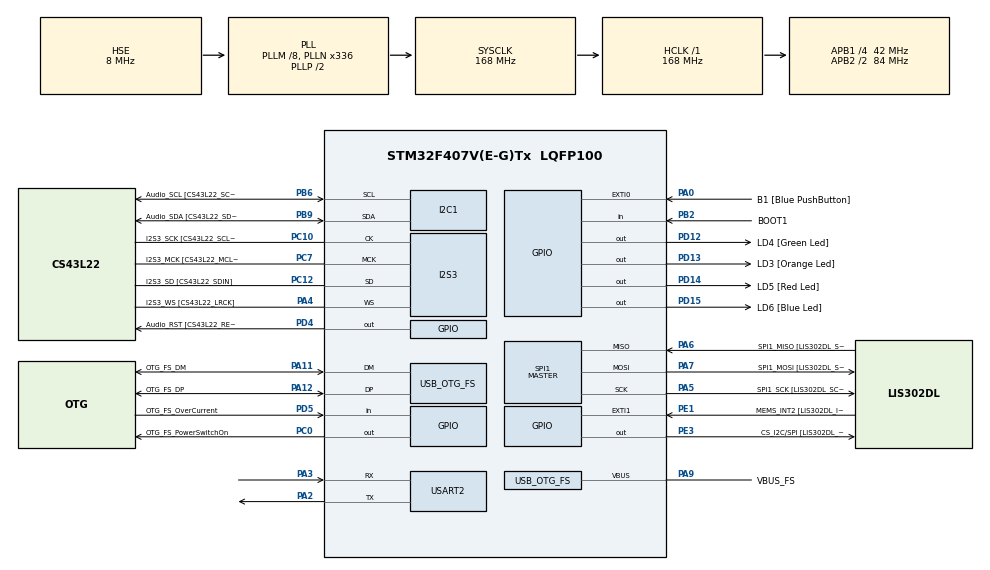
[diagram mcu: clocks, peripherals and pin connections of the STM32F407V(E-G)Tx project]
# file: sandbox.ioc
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I2S3.AudioFreq-Half_Duplex_Master=I2S_AUDIOFREQ_96K
I2S3.ErrorAudioFreq=-2.34 %
I2S3.ErrorAudioFreq-Half_Duplex_Master=0.8 %
I2S3.FullDuplexMode=I2S_FULLDUPLEXMODE_DISABLE
I2S3.Instance=SPI$Index
I2S3.RealAudioFreq=93.75 KHz
I2S3.RealAudioFreq-Half_Duplex_Master=96.774 KHz
I2S3.VirtualMode=I2S_MODE_MASTER
Mcu.Family=STM32F4
Mcu.Name=STM32F407V(E-G)Tx
Mcu.Package=LQFP100
NVIC.OTG_FS_IRQn=true\:0\:0\:false\:false\:true\:true
NVIC.PriorityGroup=NVIC_PRIORITYGROUP_0
PA0-WKUP.GPIO_Label=B1 [Blue PushButton]
PA0-WKUP.GPIO_ModeDefaultEXTI=GPIO_MODE_EVT_RISING
PA0-WKUP.GPIO_PuPd=GPIO_NOPULL
PA0-WKUP.Signal=GPXTI0
PA10.GPIO_Label=OTG_FS_ID
PA10.GPIO_Mode=GPIO_MODE_AF_PP
PA10.GPIO_PuPd=GPIO_NOPULL
PA10.GPIO_Speed=GPIO_SPEED_FREQ_LOW
PA10.Signal=USB_OTG_FS_ID
PA11.GPIO_Label=OTG_FS_DM
PA11.GPIO_Mode=GPIO_MODE_AF_PP
PA11.GPIO_PuPd=GPIO_NOPULL
PA11.GPIO_Speed=GPIO_SPEED_FREQ_LOW
PA11.Mode=Host_Only
PA11.Signal=USB_OTG_FS_DM
PA12.GPIO_Label=OTG_FS_DP
PA12.GPIO_Mode=GPIO_MODE_AF_PP
PA12.GPIO_PuPd=GPIO_NOPULL
PA12.GPIO_Speed=GPIO_SPEED_FREQ_LOW
PA12.Mode=Host_Only
PA12.Signal=USB_OTG_FS_DP
PA13.GPIO_Label=SWDIO
PA13.Mode=Serial_Wire
PA13.Signal=SYS_JTMS-SWDIO
PA14.GPIO_Label=SWCLK
PA14.Mode=Serial_Wire
PA14.Signal=SYS_JTCK-SWCLK
PA2.Mode=Asynchronous
PA2.Signal=USART2_TX
PA3.Mode=Asynchronous
PA3.Signal=USART2_RX
PA4.GPIO_Label=I2S3_WS [CS43L22_LRCK]
PA4.GPIO_Mode=GPIO_MODE_AF_PP
PA4.GPIO_PuPd=GPIO_NOPULL
PA4.GPIO_Speed=GPIO_SPEED_FREQ_LOW
PA4.Mode=Half_Duplex_Master
PA4.Signal=I2S3_WS
PA5.GPIO_Label=SPI1_SCK [LIS302DL_SCL/SPC]
PA5.GPIO_Mode=GPIO_MODE_AF_PP
PA5.GPIO_PuPd=GPIO_NOPULL
PA5.GPIO_Speed=GPIO_SPEED_FREQ_LOW
PA5.Mode=Full_Duplex_Master
PA5.Signal=SPI1_SCK
PA6.GPIO_Label=SPI1_MISO [LIS302DL_SDO]
PA6.GPIO_Mode=GPIO_MODE_AF_PP
PA6.GPIO_PuPd=GPIO_NOPULL
PA6.GPIO_Speed=GPIO_SPEED_FREQ_LOW
PA6.Mode=Full_Duplex_Master
PA6.Signal=SPI1_MISO
PA7.GPIO_Label=SPI1_MOSI [LIS302DL_SDA/SDI/SDO]
PA7.GPIO_Mode=GPIO_MODE_AF_PP
PA7.GPIO_PuPd=GPIO_NOPULL
PA7.GPIO_Speed=GPIO_SPEED_FREQ_LOW
PA7.Mode=Full_Duplex_Master
PA7.Signal=SPI1_MOSI
PA9.GPIO_Label=VBUS_FS
PA9.GPIO_Mode=GPIO_MODE_INPUT
PA9.GPIO_PuPd=GPIO_NOPULL
PA9.Mode=Activate_VBUS
PA9.Signal=USB_OTG_FS_VBUS
PB10.GPIO_Label=CLK_IN [MP45DT02_CLK]
PB10.GPIO_Mode=GPIO_MODE_AF_PP
PB10.GPIO_PuPd=GPIO_NOPULL
PB10.GPIO_Speed=GPIO_SPEED_FREQ_LOW
PB10.Signal=I2S2_CK
PB2.GPIO_Label=BOOT1
PB2.GPIO_Mode=GPIO_MODE_INPUT
PB2.GPIO_PuPd=GPIO_NOPULL
PB2.Signal=GPIO_Input
PB3.GPIO_Label=SWO
PB3.Signal=SYS_JTDO-SWO
PB6.GPIO_Label=Audio_SCL [CS43L22_SCL]
PB6.GPIO_Mode=GPIO_MODE_AF_OD
PB6.GPIO_PuPd=GPIO_NOPULL
PB6.GPIO_Speed=GPIO_SPEED_FREQ_LOW
PB6.Mode=I2C
PB6.Signal=I2C1_SCL
PB9.GPIO_Label=Audio_SDA [CS43L22_SDA]
PB9.GPIO_Mode=GPIO_MODE_AF_OD
PB9.GPIO_PuPd=GPIO_NOPULL
PB9.GPIO_Speed=GPIO_SPEED_FREQ_LOW
PB9.Mode=I2C
PB9.Signal=I2C1_SDA
PC0.GPIO_Label=OTG_FS_PowerSwitchOn
PC0.GPIO_PuPd=GPIO_NOPULL
PC0.GPIO_Speed=GPIO_SPEED_FREQ_LOW
PC0.PinState=GPIO_PIN_SET
PC0.Signal=GPIO_Output
PC10.GPIO_Label=I2S3_SCK [CS43L22_SCLK]
PC10.GPIO_Mode=GPIO_MODE_AF_PP
PC10.GPIO_PuPd=GPIO_NOPULL
PC10.GPIO_Speed=GPIO_SPEED_FREQ_LOW
PC10.Mode=Half_Duplex_Master
PC10.Signal=I2S3_CK
PC12.GPIO_Label=I2S3_SD [CS43L22_SDIN]
PC12.GPIO_Mode=GPIO_MODE_AF_PP
PC12.GPIO_PuPd=GPIO_NOPULL
PC12.GPIO_Speed=GPIO_SPEED_FREQ_LOW
PC12.Mode=Half_Duplex_Master
PC12.Signal=I2S3_SD
PC14-OSC32_IN.GPIO_Label=PC14-OSC32_IN
PC14-OSC32_IN.Mode=LSE-External-Oscillator
PC14-OSC32_IN.Signal=RCC_OSC32_IN
PC15-OSC32_OUT.GPIO_Label=PC15-OSC32_OUT
PC15-OSC32_OUT.Mode=LSE-External-Oscillator
PC15-OSC32_OUT.Signal=RCC_OSC32_OUT
PC3.GPIO_Label=PDM_OUT [MP45DT02_DOUT]
PC3.GPIO_Mode=GPIO_MODE_AF_PP
PC3.GPIO_PuPd=GPIO_NOPULL
PC3.GPIO_Speed=GPIO_SPEED_FREQ_LOW
PC3.Signal=I2S2_SD
PC7.GPIO_Label=I2S3_MCK [CS43L22_MCLK]
PC7.GPIO_Mode=GPIO_MODE_AF_PP
PC7.GPIO_PuPd=GPIO_NOPULL
PC7.GPIO_Speed=GPIO_SPEED_FREQ_LOW
PC7.Mode=Master_Clock_Activated
PC7.Signal=I2S3_MCK
PD12.GPIO_Label=LD4 [Green Led]
PD12.GPIO_PuPd=GPIO_NOPULL
PD12.GPIO_Speed=GPIO_SPEED_FREQ_LOW
PD12.Signal=GPIO_Output
PD13.GPIO_Label=LD3 [Orange Led]
PD13.GPIO_PuPd=GPIO_NOPULL
PD13.GPIO_Speed=GPIO_SPEED_FREQ_LOW
PD13.Signal=GPIO_Output
PD14.GPIO_Label=LD5 [Red Led]
PD14.GPIO_PuPd=GPIO_NOPULL
PD14.GPIO_Speed=GPIO_SPEED_FREQ_LOW
PD14.Signal=GPIO_Output
PD15.GPIO_Label=LD6 [Blue Led]
PD15.GPIO_PuPd=GPIO_NOPULL
PD15.GPIO_Speed=GPIO_SPEED_FREQ_LOW
PD15.Signal=GPIO_Output
PD4.GPIO_Label=Audio_RST [CS43L22_RESET]
PD4.GPIO_PuPd=GPIO_NOPULL
PD4.GPIO_Speed=GPIO_SPEED_FREQ_LOW
PD4.Signal=GPIO_Output
PD5.GPIO_Label=OTG_FS_OverCurrent
PD5.GPIO_Mode=GPIO_MODE_INPUT
PD5.GPIO_PuPd=GPIO_NOPULL
PD5.Signal=GPIO_Input
PE1.GPIO_Label=MEMS_INT2 [LIS302DL_INT2]
PE1.GPIO_ModeDefaultEXTI=GPIO_MODE_EVT_RISING
PE1.GPIO_PuPd=GPIO_NOPULL
PE1.Signal=GPXTI1
PE3.GPIO_Label=CS_I2C/SPI [LIS302DL_CS_I2C/SPI]
PE3.GPIO_PuPd=GPIO_NOPULL
PE3.GPIO_Speed=GPIO_SPEED_FREQ_LOW
PE3.Signal=GPIO_Output
PH0-OSC_IN.GPIO_Label=PH0-OSC_IN
PH0-OSC_IN.Mode=HSE-External-Oscillator
PH0-OSC_IN.Signal=RCC_OSC_IN
PH1-OSC_OUT.GPIO_Label=PH1-OSC_OUT
PH1-OSC_OUT.Mode=HSE-External-Oscillator
PH1-OSC_OUT.Signal=RCC_OSC_OUT
ProjectManager.HeapSize=0x200
ProjectManager.StackSize=0x400
ProjectManager.TargetToolchain=SW4STM32
RCC.48MHZClocksFreq_Value=48000000
RCC.AHBFreq_Value=168000000
RCC.APB1CLKDivider=RCC_HCLK_DIV4
RCC.APB1Freq_Value=42000000
RCC.APB1TimFreq_Value=84000000
RCC.APB2CLKDivider=RCC_HCLK_DIV2
RCC.APB2Freq_Value=84000000
RCC.APB2TimFreq_Value=168000000
RCC.CortexFreq_Value=168000000
RCC.HCLKFreq_Value=168000000
RCC.HSE_VALUE=8000000
RCC.HSI_VALUE=16000000
RCC.PLLM=8
RCC.PLLN=336
RCC.PLLQ=7
RCC.SYSCLKFreq_VALUE=168000000
RCC.SYSCLKSource=RCC_SYSCLKSOURCE_PLLCLK
RCC.VCOOutputFreq_Value=336000000
SPI1.BaudRatePrescaler-Full_Duplex_Master=SPI_BAUDRATEPRESCALER_2
SPI1.CalculateBaudRate-Full_Duplex_Master=42.0 MBits/s
SPI1.Direction=SPI_DIRECTION_2LINES
SPI1.Mode=SPI_MODE_MASTER
SPI1.Mode-Full_Duplex_Master=SPI_MODE_MASTER
SPI1.VirtualType=VM_MASTER
USART2.VirtualMode=VM_ASYNC
USB_OTG_FS.VirtualMode=Host_Only
USB_OTG_FS.phy_itface=HCD_PHY_EMBEDDED
board=STM32F4DISCOVERY

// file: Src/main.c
/**
  ******************************************************************************
  * @file           : main.c
  * @brief          : Main program body
  ******************************************************************************
  ** This notice applies to any and all portions of this file
  * that are not between comment pairs USER CODE BEGIN and
  * USER CODE END. Other portions of this file, whether
  * inserted by the user or by software development tools
  * are owned by their respective copyright owners.
  *
  * COPYRIGHT(c) 2018 STMicroelectronics
  *
  * Redistribution and use in source and binary forms, with or without modification,
  * are permitted provided that the following conditions are met:
  *   1. Redistributions of source code must retain the above copyright notice,
  *      this list of conditions and the following disclaimer.
  *   2. Redistributions in binary form must reproduce the above copyright notice,
  *      this list of conditions and the following disclaimer in the documentation
  *      and/or other materials provided with the distribution.
  *   3. Neither the name of STMicroelectronics nor the names of its contributors
  *      may be used to endorse or promote products derived from this software
  *      without specific prior written permission.
  *
  * THIS SOFTWARE IS PROVIDED BY THE COPYRIGHT HOLDERS AND CONTRIBUTORS "AS IS"
  * AND ANY EXPRESS OR IMPLIED WARRANTIES, INCLUDING, BUT NOT LIMITED TO, THE
  * IMPLIED WARRANTIES OF MERCHANTABILITY AND FITNESS FOR A PARTICULAR PURPOSE ARE
  * DISCLAIMED. IN NO EVENT SHALL THE COPYRIGHT HOLDER OR CONTRIBUTORS BE LIABLE
  * FOR ANY DIRECT, INDIRECT, INCIDENTAL, SPECIAL, EXEMPLARY, OR CONSEQUENTIAL
  * DAMAGES (INCLUDING, BUT NOT LIMITED TO, PROCUREMENT OF SUBSTITUTE GOODS OR
  * SERVICES; LOSS OF USE, DATA, OR PROFITS; OR BUSINESS INTERRUPTION) HOWEVER
  * CAUSED AND ON ANY THEORY OF LIABILITY, WHETHER IN CONTRACT, STRICT LIABILITY,
  * OR TORT (INCLUDING NEGLIGENCE OR OTHERWISE) ARISING IN ANY WAY OUT OF THE USE
  * OF THIS SOFTWARE, EVEN IF ADVISED OF THE POSSIBILITY OF SUCH DAMAGE.
  *
  ******************************************************************************
  */
#include "main.h"
#include "stm32f4xx_hal.h"

I2C_HandleTypeDef hi2c1;

I2S_HandleTypeDef hi2s3;

SPI_HandleTypeDef hspi1;

UART_HandleTypeDef huart2;

HCD_HandleTypeDef hhcd_USB_OTG_FS;

/* USER CODE BEGIN PV */
/* Private variables ---------------------------------------------------------*/

/* USER CODE END PV */

void SystemClock_Config(void);

static void MX_GPIO_Init(void);

static void MX_I2C1_Init(void);

static void MX_I2S3_Init(void);

static void MX_SPI1_Init(void);

static void MX_USB_OTG_FS_HCD_Init(void);

static void MX_USART2_UART_Init(void);

/* USER CODE BEGIN PFP */
/* Private function prototypes -----------------------------------------------*/

/* USER CODE END PFP */

/* USER CODE BEGIN 0 */
static duk_ret_t native_sleep(duk_context *ctx) {
    duk_int32_t ms = duk_to_int32(ctx, 0);
    HAL_Delay((uint32_t) ms);
    return 0;
}

static duk_ret_t native_led_on(duk_context *ctx) {
    HAL_GPIO_WritePin(LD6_GPIO_Port, LD6_Pin, GPIO_PIN_SET);
    return 0;
}

static duk_ret_t native_led_off(duk_context *ctx) {
    HAL_GPIO_WritePin(LD6_GPIO_Port, LD6_Pin, GPIO_PIN_RESET);
    return 0;
}

/* USER CODE END 0 */

int main(void) {

    /* MCU Configuration----------------------------------------------------------*/

    /* Reset of all peripherals, Initializes the Flash interface and the Systick. */
    HAL_Init();

    /* Configure the system clock */
    SystemClock_Config();

    /* Initialize all configured peripherals */
    MX_GPIO_Init();
    MX_I2C1_Init();
    MX_I2S3_Init();
    MX_SPI1_Init();
    MX_USB_OTG_FS_HCD_Init();
    MX_USART2_UART_Init();
    /* USER CODE BEGIN 2 */

    duk_context *ctx = duk_create_heap_default();

    duk_push_c_function(ctx, native_sleep, 1 /*nargs*/);
    duk_put_global_string(ctx, "sleep");

    duk_push_c_function(ctx, native_led_on, 0);
    duk_put_global_string(ctx, "ledOn");

    duk_push_c_function(ctx, native_led_off, 0);
    duk_put_global_string(ctx, "ledOff");

    duk_eval_string(ctx, "(function(){"
            "var timeTest = 400 + 100;"
            "while(true){"
            "ledOn();"
            "sleep(timeTest);"
            "ledOff();"
            "sleep(timeTest);"
            "}"
            "})()");

    duk_destroy_heap(ctx);

    /* USER CODE END 2 */

    /* Infinite loop */
    while (1) {

        /* USER CODE BEGIN 3 */

        HAL_Delay(500);
        HAL_GPIO_WritePin(LD6_GPIO_Port, LD6_Pin, GPIO_PIN_RESET);
        HAL_Delay(500);
    }
    /* USER CODE END 3 */

}

void SystemClock_Config(void) {

    RCC_OscInitTypeDef RCC_OscInitStruct;
    RCC_ClkInitTypeDef RCC_ClkInitStruct;
    RCC_PeriphCLKInitTypeDef PeriphClkInitStruct;

    /**Configure the main internal regulator output voltage
    */
    __HAL_RCC_PWR_CLK_ENABLE();

    __HAL_PWR_VOLTAGESCALING_CONFIG(PWR_REGULATOR_VOLTAGE_SCALE1);

    /**Initializes the CPU, AHB and APB busses clocks
    */
    RCC_OscInitStruct.OscillatorType = RCC_OSCILLATORTYPE_HSE;
    RCC_OscInitStruct.HSEState = RCC_HSE_ON;
    RCC_OscInitStruct.PLL.PLLState = RCC_PLL_ON;
    RCC_OscInitStruct.PLL.PLLSource = RCC_PLLSOURCE_HSE;
    RCC_OscInitStruct.PLL.PLLM = 8;
    RCC_OscInitStruct.PLL.PLLN = 336;
    RCC_OscInitStruct.PLL.PLLP = RCC_PLLP_DIV2;
    RCC_OscInitStruct.PLL.PLLQ = 7;
    if (HAL_RCC_OscConfig(&RCC_OscInitStruct) != HAL_OK) {
        _Error_Handler(__FILE__, __LINE__);
    }

    /**Initializes the CPU, AHB and APB busses clocks
    */
    RCC_ClkInitStruct.ClockType = RCC_CLOCKTYPE_HCLK | RCC_CLOCKTYPE_SYSCLK
                                  | RCC_CLOCKTYPE_PCLK1 | RCC_CLOCKTYPE_PCLK2;
    RCC_ClkInitStruct.SYSCLKSource = RCC_SYSCLKSOURCE_PLLCLK;
    RCC_ClkInitStruct.AHBCLKDivider = RCC_SYSCLK_DIV1;
    RCC_ClkInitStruct.APB1CLKDivider = RCC_HCLK_DIV4;
    RCC_ClkInitStruct.APB2CLKDivider = RCC_HCLK_DIV2;

    if (HAL_RCC_ClockConfig(&RCC_ClkInitStruct, FLASH_LATENCY_5) != HAL_OK) {
        _Error_Handler(__FILE__, __LINE__);
    }

    PeriphClkInitStruct.PeriphClockSelection = RCC_PERIPHCLK_I2S;
    PeriphClkInitStruct.PLLI2S.PLLI2SN = 192;
    PeriphClkInitStruct.PLLI2S.PLLI2SR = 2;
    if (HAL_RCCEx_PeriphCLKConfig(&PeriphClkInitStruct) != HAL_OK) {
        _Error_Handler(__FILE__, __LINE__);
    }

    /**Configure the Systick interrupt time
    */
    HAL_SYSTICK_Config(HAL_RCC_GetHCLKFreq() / 1000);

    /**Configure the Systick
    */
    HAL_SYSTICK_CLKSourceConfig(SYSTICK_CLKSOURCE_HCLK);

    /* SysTick_IRQn interrupt configuration */
    HAL_NVIC_SetPriority(SysTick_IRQn, 0, 0);
}

/* I2C1 init function */
static void MX_I2C1_Init(void) {

    hi2c1.Instance = I2C1;
    hi2c1.Init.ClockSpeed = 100000;
    hi2c1.Init.DutyCycle = I2C_DUTYCYCLE_2;
    hi2c1.Init.OwnAddress1 = 0;
    hi2c1.Init.AddressingMode = I2C_ADDRESSINGMODE_7BIT;
    hi2c1.Init.DualAddressMode = I2C_DUALADDRESS_DISABLE;
    hi2c1.Init.OwnAddress2 = 0;
    hi2c1.Init.GeneralCallMode = I2C_GENERALCALL_DISABLE;
    hi2c1.Init.NoStretchMode = I2C_NOSTRETCH_DISABLE;
    if (HAL_I2C_Init(&hi2c1) != HAL_OK) {
        _Error_Handler(__FILE__, __LINE__);
    }

}

/* I2S3 init function */
static void MX_I2S3_Init(void) {

    hi2s3.Instance = SPI3;
    hi2s3.Init.Mode = I2S_MODE_MASTER_TX;
    hi2s3.Init.Standard = I2S_STANDARD_PHILIPS;
    hi2s3.Init.DataFormat = I2S_DATAFORMAT_16B;
    hi2s3.Init.MCLKOutput = I2S_MCLKOUTPUT_ENABLE;
    hi2s3.Init.AudioFreq = I2S_AUDIOFREQ_96K;
    hi2s3.Init.CPOL = I2S_CPOL_LOW;
    hi2s3.Init.ClockSource = I2S_CLOCK_PLL;
    hi2s3.Init.FullDuplexMode = I2S_FULLDUPLEXMODE_DISABLE;
    if (HAL_I2S_Init(&hi2s3) != HAL_OK) {
        _Error_Handler(__FILE__, __LINE__);
    }

}

/* SPI1 init function */
static void MX_SPI1_Init(void) {

    /* SPI1 parameter configuration*/
    hspi1.Instance = SPI1;
    hspi1.Init.Mode = SPI_MODE_MASTER;
    hspi1.Init.Direction = SPI_DIRECTION_2LINES;
    hspi1.Init.DataSize = SPI_DATASIZE_8BIT;
    hspi1.Init.CLKPolarity = SPI_POLARITY_LOW;
    hspi1.Init.CLKPhase = SPI_PHASE_1EDGE;
    hspi1.Init.NSS = SPI_NSS_SOFT;
    hspi1.Init.BaudRatePrescaler = SPI_BAUDRATEPRESCALER_2;
    hspi1.Init.FirstBit = SPI_FIRSTBIT_MSB;
    hspi1.Init.TIMode = SPI_TIMODE_DISABLE;
    hspi1.Init.CRCCalculation = SPI_CRCCALCULATION_DISABLE;
    hspi1.Init.CRCPolynomial = 10;
    if (HAL_SPI_Init(&hspi1) != HAL_OK) {
        _Error_Handler(__FILE__, __LINE__);
    }

}

/* USART2 init function */
static void MX_USART2_UART_Init(void) {

    huart2.Instance = USART2;
    huart2.Init.BaudRate = 115200;
    huart2.Init.WordLength = UART_WORDLENGTH_8B;
    huart2.Init.StopBits = UART_STOPBITS_1;
    huart2.Init.Parity = UART_PARITY_NONE;
    huart2.Init.Mode = UART_MODE_TX_RX;
    huart2.Init.HwFlowCtl = UART_HWCONTROL_NONE;
    huart2.Init.OverSampling = UART_OVERSAMPLING_16;
    if (HAL_UART_Init(&huart2) != HAL_OK) {
        _Error_Handler(__FILE__, __LINE__);
    }

}

/* USB_OTG_FS init function */
static void MX_USB_OTG_FS_HCD_Init(void) {

    hhcd_USB_OTG_FS.Instance = USB_OTG_FS;
    hhcd_USB_OTG_FS.Init.Host_channels = 8;
    hhcd_USB_OTG_FS.Init.speed = HCD_SPEED_FULL;
    hhcd_USB_OTG_FS.Init.dma_enable = DISABLE;
    hhcd_USB_OTG_FS.Init.phy_itface = HCD_PHY_EMBEDDED;
    hhcd_USB_OTG_FS.Init.Sof_enable = DISABLE;
    if (HAL_HCD_Init(&hhcd_USB_OTG_FS) != HAL_OK) {
        _Error_Handler(__FILE__, __LINE__);
    }

}

/** Configure pins as
        * Analog
        * Input
        * Output
        * EVENT_OUT
        * EXTI
     PC3   ------> I2S2_SD
     PB10   ------> I2S2_CK
*/
static void MX_GPIO_Init(void) {

    GPIO_InitTypeDef GPIO_InitStruct;

    /* GPIO Ports Clock Enable */
    __HAL_RCC_GPIOE_CLK_ENABLE();
    __HAL_RCC_GPIOC_CLK_ENABLE();
    __HAL_RCC_GPIOH_CLK_ENABLE();
    __HAL_RCC_GPIOA_CLK_ENABLE();
    __HAL_RCC_GPIOB_CLK_ENABLE();
    __HAL_RCC_GPIOD_CLK_ENABLE();

    /*Configure GPIO pin Output Level */
    HAL_GPIO_WritePin(CS_I2C_SPI_GPIO_Port, CS_I2C_SPI_Pin, GPIO_PIN_RESET);

    /*Configure GPIO pin Output Level */
    HAL_GPIO_WritePin(OTG_FS_PowerSwitchOn_GPIO_Port, OTG_FS_PowerSwitchOn_Pin, GPIO_PIN_SET);

    /*Configure GPIO pin Output Level */
    HAL_GPIO_WritePin(GPIOD, LD4_Pin | LD3_Pin | LD5_Pin | LD6_Pin
                             | Audio_RST_Pin, GPIO_PIN_RESET);

    /*Configure GPIO pin : CS_I2C_SPI_Pin */
    GPIO_InitStruct.Pin = CS_I2C_SPI_Pin;
    GPIO_InitStruct.Mode = GPIO_MODE_OUTPUT_PP;
    GPIO_InitStruct.Pull = GPIO_NOPULL;
    GPIO_InitStruct.Speed = GPIO_SPEED_FREQ_LOW;
    HAL_GPIO_Init(CS_I2C_SPI_GPIO_Port, &GPIO_InitStruct);

    /*Configure GPIO pin : OTG_FS_PowerSwitchOn_Pin */
    GPIO_InitStruct.Pin = OTG_FS_PowerSwitchOn_Pin;
    GPIO_InitStruct.Mode = GPIO_MODE_OUTPUT_PP;
    GPIO_InitStruct.Pull = GPIO_NOPULL;
    GPIO_InitStruct.Speed = GPIO_SPEED_FREQ_LOW;
    HAL_GPIO_Init(OTG_FS_PowerSwitchOn_GPIO_Port, &GPIO_InitStruct);

    /*Configure GPIO pin : PDM_OUT_Pin */
    GPIO_InitStruct.Pin = PDM_OUT_Pin;
    GPIO_InitStruct.Mode = GPIO_MODE_AF_PP;
    GPIO_InitStruct.Pull = GPIO_NOPULL;
    GPIO_InitStruct.Speed = GPIO_SPEED_FREQ_LOW;
    GPIO_InitStruct.Alternate = GPIO_AF5_SPI2;
    HAL_GPIO_Init(PDM_OUT_GPIO_Port, &GPIO_InitStruct);

    /*Configure GPIO pin : B1_Pin */
    GPIO_InitStruct.Pin = B1_Pin;
    GPIO_InitStruct.Mode = GPIO_MODE_EVT_RISING;
    GPIO_InitStruct.Pull = GPIO_NOPULL;
    HAL_GPIO_Init(B1_GPIO_Port, &GPIO_InitStruct);

    /*Configure GPIO pin : BOOT1_Pin */
    GPIO_InitStruct.Pin = BOOT1_Pin;
    GPIO_InitStruct.Mode = GPIO_MODE_INPUT;
    GPIO_InitStruct.Pull = GPIO_NOPULL;
    HAL_GPIO_Init(BOOT1_GPIO_Port, &GPIO_InitStruct);

    /*Configure GPIO pin : CLK_IN_Pin */
    GPIO_InitStruct.Pin = CLK_IN_Pin;
    GPIO_InitStruct.Mode = GPIO_MODE_AF_PP;
    GPIO_InitStruct.Pull = GPIO_NOPULL;
    GPIO_InitStruct.Speed = GPIO_SPEED_FREQ_LOW;
    GPIO_InitStruct.Alternate = GPIO_AF5_SPI2;
    HAL_GPIO_Init(CLK_IN_GPIO_Port, &GPIO_InitStruct);

    /*Configure GPIO pins : LD4_Pin LD3_Pin LD5_Pin LD6_Pin
                             Audio_RST_Pin */
    GPIO_InitStruct.Pin = LD4_Pin | LD3_Pin | LD5_Pin | LD6_Pin
                          | Audio_RST_Pin;
    GPIO_InitStruct.Mode = GPIO_MODE_OUTPUT_PP;
    GPIO_InitStruct.Pull = GPIO_NOPULL;
    GPIO_InitStruct.Speed = GPIO_SPEED_FREQ_LOW;
    HAL_GPIO_Init(GPIOD, &GPIO_InitStruct);

    /*Configure GPIO pin : OTG_FS_OverCurrent_Pin */
    GPIO_InitStruct.Pin = OTG_FS_OverCurrent_Pin;
    GPIO_InitStruct.Mode = GPIO_MODE_INPUT;
    GPIO_InitStruct.Pull = GPIO_NOPULL;
    HAL_GPIO_Init(OTG_FS_OverCurrent_GPIO_Port, &GPIO_InitStruct);

    /*Configure GPIO pin : MEMS_INT2_Pin */
    GPIO_InitStruct.Pin = MEMS_INT2_Pin;
    GPIO_InitStruct.Mode = GPIO_MODE_EVT_RISING;
    GPIO_InitStruct.Pull = GPIO_NOPULL;
    HAL_GPIO_Init(MEMS_INT2_GPIO_Port, &GPIO_InitStruct);

}

void _Error_Handler(char *file, int line) {
    while (1) {
    }
}

/************************ (C) COPYRIGHT STMicroelectronics *****END OF FILE****/
